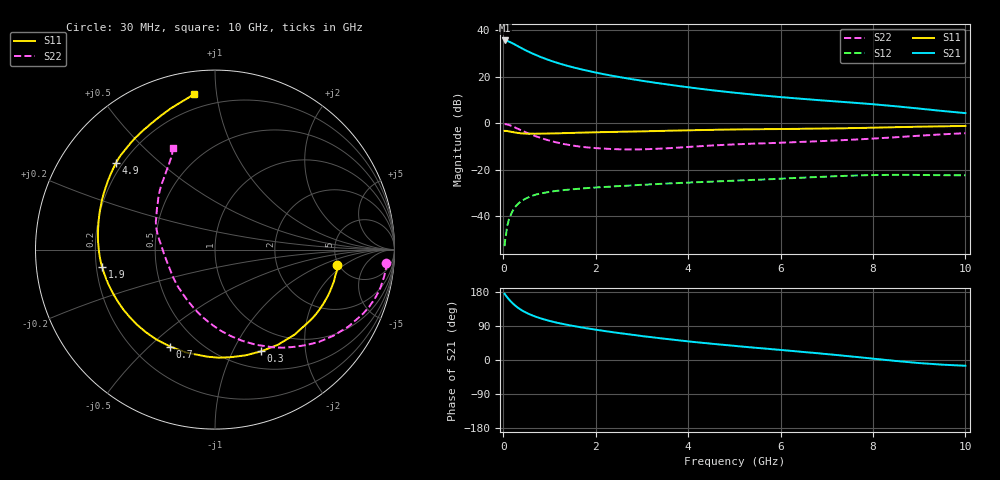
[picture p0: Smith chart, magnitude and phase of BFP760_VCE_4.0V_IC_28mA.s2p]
! Infineon Technologies  Discrete & RF Semiconductors
! BFP760
! VCE =  4.0 V,  IC =  28 mA
! Common Emitter S-Parameters:  Nov 2012
# GHz  S  MA  R  50
!  f  S11  S21  S12  S22
! GHz  MAG  ANG  MAG  ANG  MAG  ANG  MAG  ANG
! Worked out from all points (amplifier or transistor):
!   99 points, 30 MHz to 10 GHz, reference 50 ohm
!   highest |S21| = 35.5 dB at 30 MHz (marker M1)
!   |S21| within 3 dB of that: start of sweep to 367.1 MHz
!   unconditionally stable (mu >= 1): 4.29 GHz to end of sweep
!   at 350 MHz: K = 0.29, MSG = 33.4 dB, |S12| = -34.1 dB
!   at 3.5 GHz: K = 0.92, MSG = 21.3 dB, |S12| = -25.9 dB
!   at 10 GHz: K = 1.07, MAG = 11.7 dB, |S12| = -22.3 dB
!   S11 on the Smith chart (normalised r, x): 30 MHz: 4.85, -1.61; 300 MHz: 0.70, -1.30; 700 MHz: 0.35, -0.58; 1.9 GHz: 0.22, -0.07; 4.9 GHz: 0.18, +0.36; 10 GHz: 0.12, +0.87
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0.03  0.688 -7.3  59.88 174.7  0.0023 82.8  0.9576 -4.4
0.05  0.6854 -12.4  59.86 171.0  0.0035 71.5  0.9564 -7.6
0.09  0.6799 -22.2  58.24 164.9  0.0066 75.5  0.9415 -14.3
0.15  0.6623 -36.2  55.1 156.4  0.0101 70.8  0.8998 -23.3
0.2  0.6489 -46.9  52.08 150.1  0.0129 66.5  0.8582 -30.0
0.3  0.6223 -65.6  46.12 139.5  0.0178 60.3  0.7747 -41.6
0.4  0.606 -81.3  40.77 131.3  0.0214 55.2  0.6967 -51.1
0.5  0.5981 -94.3  36.23 124.7  0.0246 50.9  0.6314 -59.5
0.6  0.5956 -105.4  32.48 119.1  0.027 47.4  0.576 -66.9
0.7  0.5951 -114.8  29.35 114.4  0.0293 44.5  0.5286 -73.6
0.9  0.6002 -130.0  24.45 106.6  0.0323 40.0  0.4536 -85.8
1.1  0.606 -141.8  20.84 100.2  0.0349 36.9  0.3992 -96.4
1.4  0.6171 -155.2  16.97 92.5  0.0375 34.4  0.3458 -110.2
1.7  0.6285 -165.6  14.28 85.9  0.0398 32.7  0.3115 -122.5
1.9  0.6365 -171.4  12.89 82.0  0.0411 31.8  0.2975 -130.3
2.6  0.6581 172.2  9.482 69.6  0.0453 30.0  0.2749 -153.7
3.4  0.6841 157.8  7.142 57.4  0.05 28.7  0.2857 -175.7
4.9  0.7325 138.9  4.647 38.5  0.058 26.5  0.3482 159.9
5.1  0.7376 137.2  4.429 36.2  0.0591 26.2  0.3553 157.7
6.7  0.766 125.1  3.205 19.0  0.0696 22.7  0.407 142.0
8.5  0.8244 107.4  2.313 -2.6  0.0782 12.7  0.5013 123.7
10  0.8749 97.6  1.651 -15.2  0.0764 8.2  0.6126 112.7
